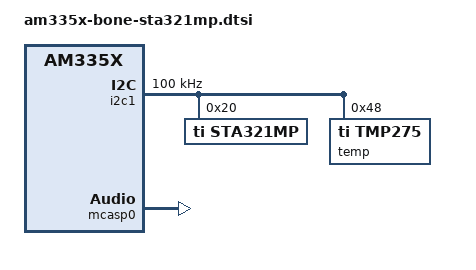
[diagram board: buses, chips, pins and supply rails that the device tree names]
/*
 * Copyright (C) 2012 Texas Instruments Incorporated - http://www.ti.com/
 *
 * This program is free software; you can redistribute it and/or modify
 * it under the terms of the GNU General Public License version 2 as
 * published by the Free Software Foundation.
 */

&ocp {
	P9_17_pinmux {
		status = "disabled";
	};
	P9_18_pinmux {
		status = "disabled";
	};

	/* The following are disabled because the audio mode is set
	   by <&mcasp0_pins_sta321mp>. */
	P9_27_pinmux {
                /* mcasp0_fsx, INPUT | MODE0, Codec WCLK */
		status = "disabled";
	};
	P9_12_pinmux {
		/* mcasp0_aclkx, INPUT | MODE6, Codec BCLK */
		status = "disabled";
	};
	P9_30_pinmux {
		/* mcasp0_axr0, INPUT | MODE0, Codec SDO12 */
		status = "disabled";
	};
	P8_35_pinmux {
		/* mcasp0_axr2, INPUT | MODE4, Codec SDO34 */
		status = "disabled";
	};
	P9_25_pinmux {
		/* mcasp0_axr3, INPUT | MODE2, Codec SDO56 */
		status = "disabled";
	};
};

&i2c1 {
	clock-frequency = <100000>;
	status = "okay";
	pinctrl-names = "default";
	pinctrl-0 = <&i2c1_pins>;

	sta321mp: sta321mp@20 {
		compatible = "ti,sta321mp";
		reg = <0x20>;
		status = "okay";
	};

        /* MCP79410 RTC module */
	/*
        rtc@68 {
	        compatible = "maxim,ds1338";
	        reg = <0x68>;
                status = "okay";
        };
	*/

        /* TMP275 Temperature sensor module */
        temp@48 {
	        compatible = "ti,tmp275";
	        reg = <0x48>;
                status = "okay";
        };

};

&mcasp0 {
	pinctrl-names = "default";
	pinctrl-0 = <&mcasp0_pins_sta321mp>;

	status = "okay";

	op-mode = <0>;          /* MCASP_IIS_MODE */
	tdm-slots = <2>;
	num-serializer = <16>;
	serial-dir = <  /* 0: INACTIVE, 1: TX, 2: RX */
	2 0 2 2
	0 0 0 0
	0 0 0 0
	0 0 0 0
	>;
	tx-num-evt = <0>;
	rx-num-evt = <1>;
};

/ {
	sound {
		compatible = "ti,beaglebone-black-sta321mp";
		ti,model = "STA321MP EVM";
		ti,audio-codec = <&sta321mp>;
		ti,mcasp-controller = <&mcasp0>;
		ti,codec-clock-rate = <24000000>;
	};
};
